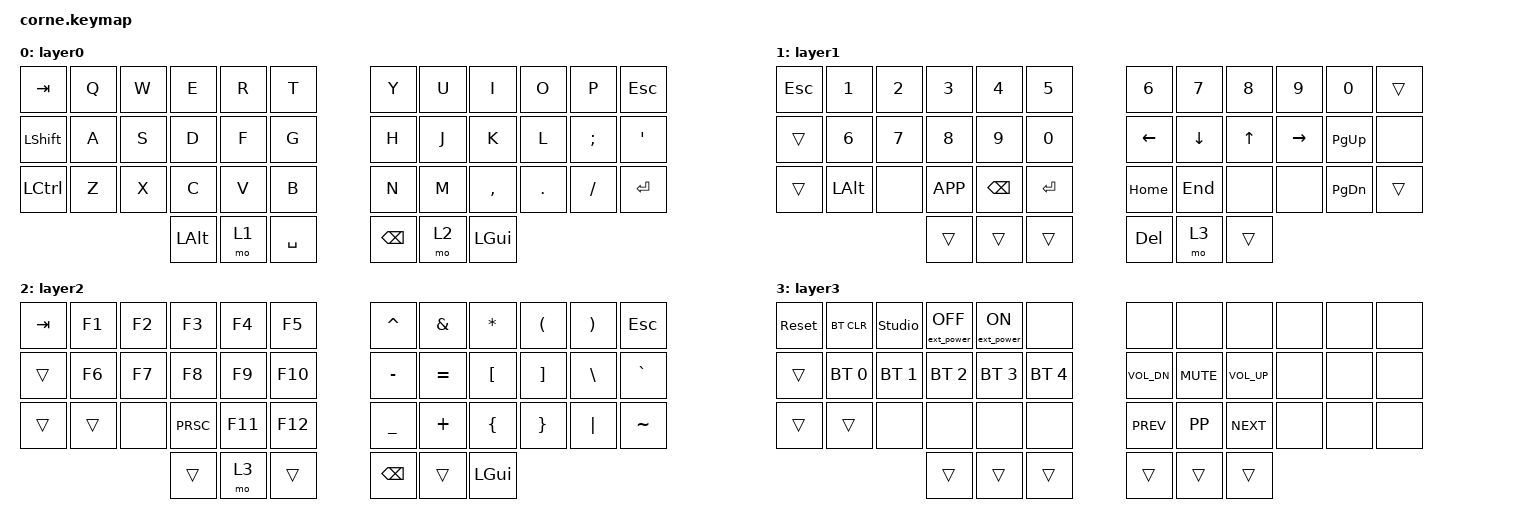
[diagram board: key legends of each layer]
/*
 * Copyright (c) 2020 The ZMK Contributors
 *
 * SPDX-License-Identifier: MIT
 */

#include <behaviors.dtsi>
#include <dt-bindings/zmk/keys.h>
#include <dt-bindings/zmk/bt.h>
#include <dt-bindings/zmk/ext_power.h>

/ {
        keymap {
                compatible = "zmk,keymap";

                layer0 {
// -----------------------------------------------------------------------------------------
// |  TAB  |  Q  |  W  |  E  |  R   |  T  |   |  Y   |  U   |  I  |  O  |  P  | ESC  |
// | SHIFT |  A  |  S  |  D  |  F   |  G  |   |  H   |  J   |  K  |  L  |  ;  |  '   |
// | CTRL  |  Z  |  X  |  C  |  V   |  B  |   |  N   |  M   |  ,  |  .  |  /  | ENTR |
//                    | GUI | LAY1 | SPC |   | BSPC | LAY2 | GUI |
                        bindings = <
   &kp TAB   &kp Q &kp W &kp E    &kp R &kp T       &kp Y    &kp U  &kp I     &kp O   &kp P    &kp ESC
   &kp LSHFT &kp A &kp S &kp D    &kp F &kp G       &kp H    &kp J  &kp K     &kp L   &kp SEMI &kp SQT
   &kp LCTRL &kp Z &kp X &kp C    &kp V &kp B       &kp N    &kp M  &kp COMMA &kp DOT &kp FSLH &kp RET
                         &kp LALT &mo 1 &kp SPACE   &kp BSPC &mo 2  &kp LGUI
                        >;
                };

                layer1 {
// -----------------------------------------------------------------------------------------
// | ESC   |  1  |  2  |  3   |  4   |  5  |   |  6   |  7   |  8  |  9  |  0      | ESC |
// | SHIFT |  6  |  7  |  8   |  9   |  0  |   | LFT  | DWN  |  UP | RGT |  PGUP   |      |
// | CTRL  | ALT |     | MENU | BSPC | RET |   | HOME | END  |     |     |  PGDOWN |      |
//                     | ALT  |      | SPC |   | DEL  | LAY3 | GUI |
                        bindings = <
   &kp ESC &kp N1   &kp N2 &kp N3    &kp N4   &kp N5    &kp N6   &kp N7   &kp N8 &kp N9    &kp N0      &trans
   &trans  &kp N6   &kp N7 &kp N8    &kp N9   &kp N0    &kp LEFT &kp DOWN &kp UP &kp RIGHT &kp PG_UP   &none
   &trans  &kp LALT &none  &kp K_APP &kp BSPC &kp RET   &kp HOME &kp END  &none  &none     &kp PG_DN   &trans
                           &trans &trans &trans         &kp DEL  &mo 3    &trans
                        >;
                };

                layer2 {
// -----------------------------------------------------------------------------------------
// |  TAB | F1  | F2  | F3   | F4   | F5  |   |  ^   |  &  |  *  |  (  |  )  | ESC |
// | SHFT | F6  | F7  | F8   | F9   | F10 |   |  -   |  =  |  [  |  ]  |  \  |  `  |
// | CTRL | ALT |     | PRSC | F11  | F12 |   |  _   |  +  |  {  |  }  | "|" |  ~  |
//                    | ALT  | LAY3 | SPC |   | BSPC |     | GUI |
                        bindings = <
   &kp TAB &kp F1 &kp F2 &kp F3   &kp F4  &kp F5    &kp CARET  &kp AMPS  &kp ASTRK &kp LPAR &kp RPAR &kp ESC
   &trans  &kp F6 &kp F7 &kp F8   &kp F9  &kp F10   &kp MINUS  &kp EQUAL &kp LBKT  &kp RBKT &kp BSLH &kp GRAVE
   &trans  &trans &none  &kp PRSC &kp F11 &kp F12   &kp UNDER  &kp PLUS  &kp LBRC  &kp RBRC &kp PIPE &kp TILDE
                         &trans   &mo 3   &trans    &kp BSPC   &trans    &kp LGUI
                        >;
                };

                layer3 {
// -----------------------------------------------------------------------------------------
// | RESET | BTCLR | STUDIO | EPOFF | EPON |     |   |       |      |       |  |  |  |
// | SHFT  | BT0   | BT1    | BT2   | BT3  | BT4 |   | VOLDN | MUTE | VOLUP |  |  |  |
// | CTRL  | ALT   |        |       |      |     |   | PREV  | PLAY | NEXT  |  |  |  |
//                          | ALT   |      | SPC |   | BSPC  |      | GUI   |
                        bindings = <
   &sys_reset &bt BT_CLR   &studio_unlock &ext_power EP_OFF &ext_power EP_ON &none          &none        &none      &none        &none &none &none
   &trans     &bt BT_SEL 0 &bt BT_SEL 1   &bt BT_SEL 2      &bt BT_SEL 3     &bt BT_SEL 4   &kp K_VOL_DN &kp K_MUTE &kp K_VOL_UP &none &none &none
   &trans     &trans       &none          &none             &none            &none          &kp K_PREV   &kp K_PP   &kp K_NEXT   &none &none &none
                                          &trans            &trans           &trans         &trans       &trans     &trans
                        >;
                };
        };
};
